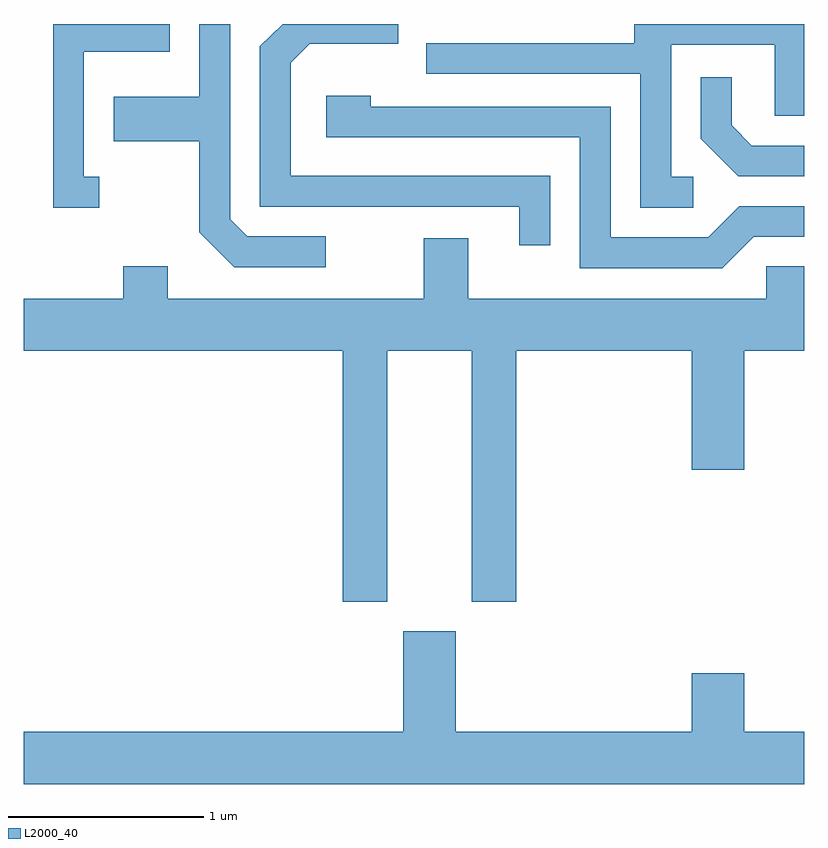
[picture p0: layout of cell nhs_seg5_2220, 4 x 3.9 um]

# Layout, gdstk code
import gdstk
lib = gdstk.Library(unit=1e-6, precision=1e-09)
def P(c, l, *ps):  # polygons
    for p in ps: c.add(gdstk.Polygon(p, *l))
L2000_40 = (2000, 40)

nhs_seg5_2220 = lib.new_cell('nhs_seg5_2220')
P(nhs_seg5_2220, L2000_40, [(255.043,1413.289),(254.929,1413.289),(254.929,1413.966),(255.461,1413.966),(255.461,1413.601),(255.611,1413.601),(255.611,1414.072),(254.741,1414.072),(254.741,1413.974),(253.673,1413.974),(253.673,1413.816),(254.771,1413.816),(254.771,1413.131),(255.043,1413.131)],
  [(254.309,1413.294),(252.979,1413.294),(252.979,1413.874),(253.077,1413.971),(253.529,1413.971),(253.529,1414.072),(252.937,1414.072),(252.821,1413.957),(252.821,1413.136),(254.151,1413.136),(254.151,1412.938),(254.309,1412.938)],
  [(251.998,1413.289),(251.919,1413.289),(251.919,1413.931),(252.359,1413.931),(252.359,1414.072),(251.761,1414.072),(251.761,1413.131),(251.998,1413.131)],
  [(253.158,1412.984),(252.757,1412.984),(252.669,1413.072),(252.669,1414.072),(252.511,1414.072),(252.511,1413.699),(252.071,1413.699),(252.071,1413.471),(252.511,1413.471),(252.511,1413.004),(252.689,1412.826),(253.158,1412.826)],
  [(255.611,1413.449),(255.342,1413.449),(255.239,1413.552),(255.239,1413.798),(255.081,1413.798),(255.081,1413.484),(255.274,1413.291),(255.611,1413.291)],
  [(255.352,1412.981),(255.611,1412.981),(255.611,1413.139),(255.279,1413.139),(255.119,1412.979),(254.619,1412.979),(254.619,1413.649),(253.389,1413.649),(253.389,1413.704),(253.161,1413.704),(253.161,1413.491),(254.461,1413.491),(254.461,1412.821),(255.192,1412.821)],
  [(253.474,1412.396),(253.906,1412.396),(253.906,1411.111),(254.134,1411.111),(254.134,1412.396),(255.036,1412.396),(255.036,1411.786),(255.304,1411.786),(255.304,1412.396),(255.611,1412.396),(255.611,1412.829),(255.416,1412.829),(255.416,1412.664),(253.889,1412.664),(253.889,1412.974),(253.661,1412.974),(253.661,1412.664),(252.349,1412.664),(252.349,1412.829),(252.121,1412.829),(252.121,1412.664),(251.611,1412.664),(251.611,1412.396),(253.246,1412.396),(253.246,1411.111),(253.474,1411.111)],
  [(255.611,1410.444),(255.304,1410.444),(255.304,1410.744),(255.036,1410.744),(255.036,1410.444),(253.824,1410.444),(253.824,1410.959),(253.556,1410.959),(253.556,1410.444),(251.611,1410.444),(251.611,1410.176),(255.611,1410.176)])

lib.write_gds('nhs_seg5_2220.gds')
